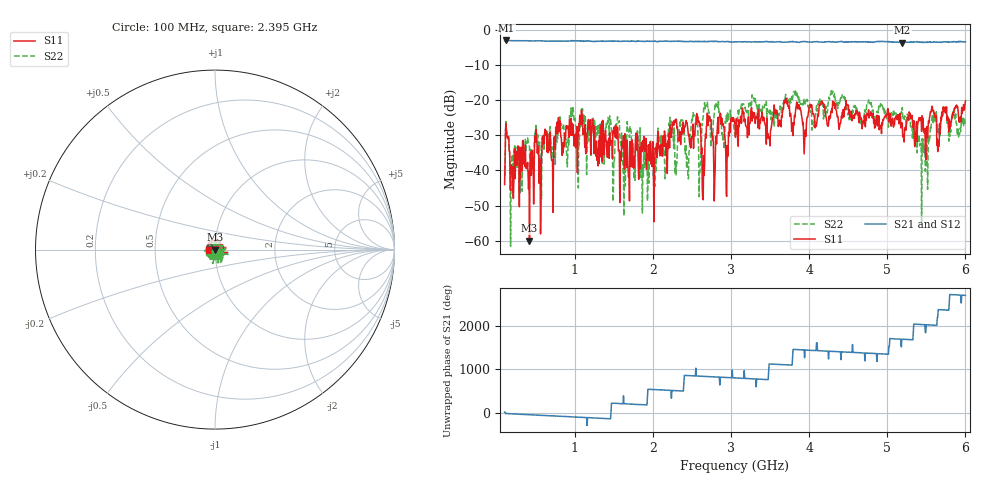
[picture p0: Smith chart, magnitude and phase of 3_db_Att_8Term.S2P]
!Created with skrf (http://scikit-rf.org).
# MHz S RI R 50.0
!freq ReS11 ImS11 ReS21 ImS21 ReS12 ImS12 ReS22 ImS22
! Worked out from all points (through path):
!   1001 points, 100 MHz to 6 GHz, reference 50 ohm
!   highest |S21| = -2.99 dB at 123.6 MHz (marker M1); lowest = -3.6 dB at 5.192 GHz (marker M2)
!   lowest |S11| = -60.1 dB at 418.6 MHz (marker M3), VSWR 1.00, Z = 50.1 + j0.0171 ohm
!   |S11| at or under -10 dB: start of sweep to end of sweep
!   |S22| runs from -61.6 to -17.3 dB; largest |S21 - S12| = 0.057
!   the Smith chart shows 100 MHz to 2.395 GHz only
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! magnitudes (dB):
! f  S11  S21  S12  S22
! 100 MHz  -44.0  -3.1  -3.1  -40.1
! 123.6 MHz  -28.7  -3.0  -3.0  -28.4
! 188.5 MHz  -40.6  -3.1  -3.1  -38.5
! 418.6 MHz  -60.1  -3.1  -3.1  -33.3
! 1.085 GHz  -22.7  -3.2  -3.3  -22.2
! 1.546 GHz  -27.7  -3.2  -3.2  -24.7
! 1.622 GHz  -30.2  -3.2  -3.2  -41.5
! 1.693 GHz  -40.5  -3.2  -3.2  -29.5
! 1.87 GHz  -31.6  -3.3  -3.2  -38.3
! 2.071 GHz  -33.6  -3.3  -3.2  -31.0
! 2.572 GHz  -24.7  -3.3  -3.3  -27.7
! 2.649 GHz  -35.8  -3.3  -3.3  -22.5
! 2.714 GHz  -24.4  -3.3  -3.3  -23.5
! 2.784 GHz  -48.7  -3.2  -3.2  -23.6
! 3.05 GHz  -26.9  -3.4  -3.4  -30.0
! 3.823 GHz  -23.7  -3.4  -3.4  -17.4
! 4.035 GHz  -21.6  -3.5  -3.4  -28.5
! 5.021 GHz  -26.1  -3.4  -3.4  -25.4
! 5.192 GHz  -26.5  -3.6  -3.5  -22.1
! 5.469 GHz  -28.6  -3.5  -3.4  -34.9
! 5.599 GHz  -24.0  -3.4  -3.3  -25.8
! 6 GHz  -20.2  -3.4  -3.3  -27.3
